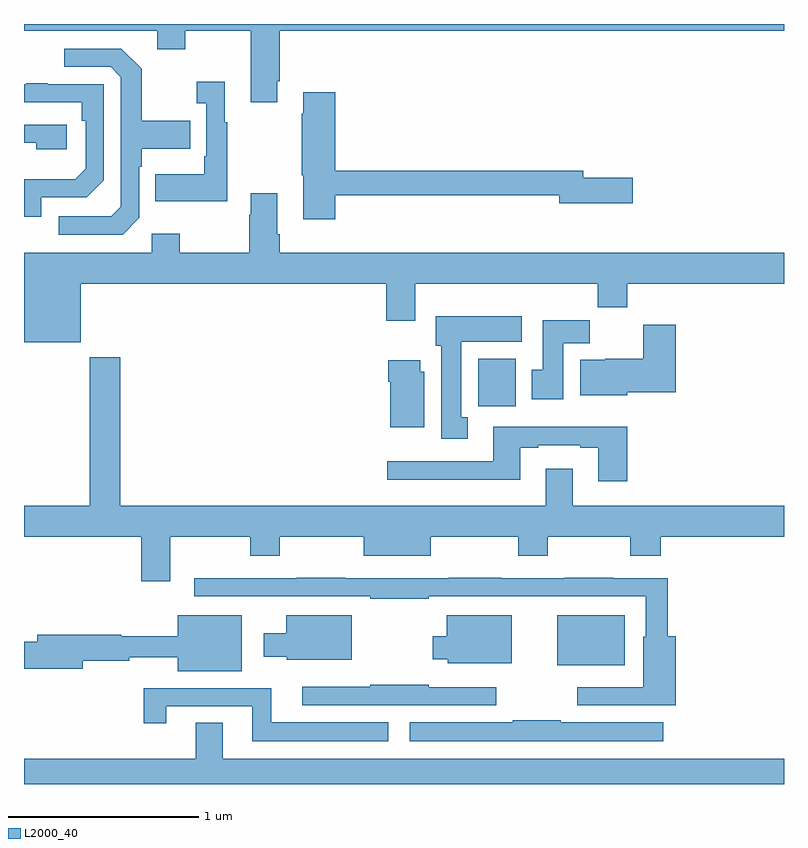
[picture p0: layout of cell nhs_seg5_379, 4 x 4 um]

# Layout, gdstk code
import gdstk
lib = gdstk.Library(unit=1e-6, precision=1e-09)
def R(c, l, rs):  # rectangles x0, y0, x1, y1
    for r in rs: c.add(gdstk.rectangle(r[:2], r[2:], *l))
def P(c, l, *ps):  # polygons
    for p in ps: c.add(gdstk.Polygon(p, *l))
L2000_40 = (2000, 40)

nhs_seg5_379 = lib.new_cell('nhs_seg5_379')
R(nhs_seg5_379, L2000_40, [(137.807,849.425,138.163,849.688), (137.391,850.788,137.587,851.038)])
P(nhs_seg5_379, L2000_40, [(136.333,852.499),(136.346,852.499),(136.346,852.764),(139,852.764),(139,852.799),(135,852.799),(135,852.764),(135.701,852.764),(135.701,852.665),(135.849,852.665),(135.849,852.764),(136.193,852.764),(136.193,852.387),(136.333,852.387)],
  [(135.606,851.778),(135.606,852.047),(135.619,852.047),(135.619,852.143),(135.875,852.143),(135.875,852.291),(135.619,852.291),(135.619,852.563),(135.513,852.669),(135.213,852.669),(135.213,852.573),(135.456,852.573),(135.51,852.519),(135.51,851.838),(135.459,851.787),(135.183,851.787),(135.183,851.691),(135.519,851.691)],
  [(136.069,852.283),(136.057,852.283),(136.057,852.496),(135.909,852.496),(135.909,852.383),(135.96,852.383),(135.96,852.103),(135.948,852.103),(135.948,852.007),(135.691,852.007),(135.691,851.867),(136.069,851.867)],
  [(135.09,851.886),(135.33,851.886),(135.42,851.976),(135.42,852.483),(135.125,852.483),(135.125,852.488),(135.013,852.488),(135.013,852.483),(135,852.483),(135,852.387),(135.304,852.387),(135.304,852.29),(135.324,852.29),(135.324,852.036),(135.271,851.983),(135,851.983),(135,851.784),(135.09,851.784)],
  [(136.637,851.898),(137.816,851.898),(137.816,851.855),(138.205,851.855),(138.205,851.99),(137.944,851.99),(137.944,852.026),(136.637,852.026),(136.637,852.439),(136.469,852.439),(136.469,852.326),(136.462,852.326),(136.462,852.003),(136.469,852.003),(136.469,851.772),(136.637,851.772)],
  [(135.226,852.27),(135,852.27),(135,852.174),(135.065,852.174),(135.065,852.14),(135.226,852.14)],
  [(135.298,851.432),(136.907,851.432),(136.907,851.238),(137.059,851.238),(137.059,851.432),(138.019,851.432),(138.019,851.308),(138.176,851.308),(138.176,851.432),(139,851.432),(139,851.596),(136.346,851.596),(136.346,851.692),(136.333,851.692),(136.333,851.908),(136.193,851.908),(136.193,851.795),(136.186,851.795),(136.186,851.596),(135.819,851.596),(135.819,851.695),(135.672,851.695),(135.672,851.596),(135,851.596),(135,851.123),(135.298,851.123)],
  [(137.335,850.729),(137.302,850.729),(137.302,851.126),(137.62,851.126),(137.62,851.26),(137.168,851.26),(137.168,851.106),(137.195,851.106),(137.195,850.617),(137.335,850.617)],
  [(137.839,851.12),(137.978,851.12),(137.978,851.239),(137.729,851.239),(137.729,850.98),(137.672,850.98),(137.672,850.824),(137.839,850.824)],
  [(138.174,850.862),(138.431,850.862),(138.431,851.215),(138.26,851.215),(138.26,851.038),(138.06,851.038),(138.06,851.032),(137.927,851.032),(137.927,850.844),(138.174,850.844)],
  [(135.769,850.1),(136.192,850.1),(136.192,850.001),(136.347,850.001),(136.347,850.1),(136.787,850.1),(136.787,850.001),(137.14,850.001),(137.14,850.1),(137.602,850.1),(137.602,850.001),(137.757,850.001),(137.757,850.1),(138.19,850.1),(138.19,850.001),(138.35,850.001),(138.35,850.1),(139,850.1),(139,850.264),(137.887,850.264),(137.887,850.459),(137.747,850.459),(137.747,850.264),(135.506,850.264),(135.506,851.044),(135.346,851.044),(135.346,850.264),(135,850.264),(135,850.1),(135.617,850.1),(135.617,849.867),(135.769,849.867)],
  [(137.107,850.968),(137.086,850.968),(137.086,851.029),(136.916,851.029),(136.916,850.916),(136.928,850.916),(136.928,850.676),(137.107,850.676)],
  [(138.176,850.678),(137.471,850.678),(137.471,850.497),(136.911,850.497),(136.911,850.4),(137.611,850.4),(137.611,850.569),(137.707,850.569),(137.707,850.581),(137.927,850.581),(137.927,850.569),(138.023,850.569),(138.023,850.392),(138.176,850.392)],
  [(138.431,849.577),(138.389,849.577),(138.389,849.882),(138.101,849.882),(138.101,849.884),(137.845,849.884),(137.845,849.882),(137.513,849.882),(137.513,849.884),(137.236,849.884),(137.236,849.882),(136.691,849.882),(136.691,849.884),(136.435,849.884),(136.435,849.882),(135.897,849.882),(135.897,849.786),(136.822,849.786),(136.822,849.774),(137.129,849.774),(137.129,849.786),(138.273,849.786),(138.273,849.573),(138.26,849.573),(138.26,849.309),(137.913,849.309),(137.913,849.213),(138.431,849.213)],
  [(137.566,849.688),(137.225,849.688),(137.225,849.577),(137.15,849.577),(137.15,849.455),(137.229,849.455),(137.229,849.434),(137.566,849.434)],
  [(136.726,849.688),(136.379,849.688),(136.379,849.592),(136.262,849.592),(136.262,849.47),(136.383,849.47),(136.383,849.452),(136.726,849.452)],
  [(136.147,849.688),(135.809,849.688),(135.809,849.577),(135.513,849.577),(135.513,849.584),(135.071,849.584),(135.071,849.548),(135,849.548),(135,849.406),(135.31,849.406),(135.31,849.448),(135.554,849.448),(135.554,849.467),(135.809,849.467),(135.809,849.392),(136.147,849.392)],
  [(137.485,849.309),(137.129,849.309),(137.129,849.322),(136.822,849.322),(136.822,849.31),(136.464,849.31),(136.464,849.213),(137.485,849.213)],
  [(136.918,849.124),(136.3,849.124),(136.3,849.303),(135.631,849.303),(135.631,849.12),(135.748,849.12),(135.748,849.207),(136.202,849.207),(136.202,849.023),(136.918,849.023)],
  [(138.364,849.124),(137.825,849.124),(137.825,849.134),(137.572,849.134),(137.572,849.124),(137.031,849.124),(137.031,849.023),(138.364,849.023)],
  [(139,848.932),(136.045,848.932),(136.045,849.122),(135.905,849.122),(135.905,848.932),(135,848.932),(135,848.799),(139,848.799)])

lib.write_gds('nhs_seg5_379.gds')
